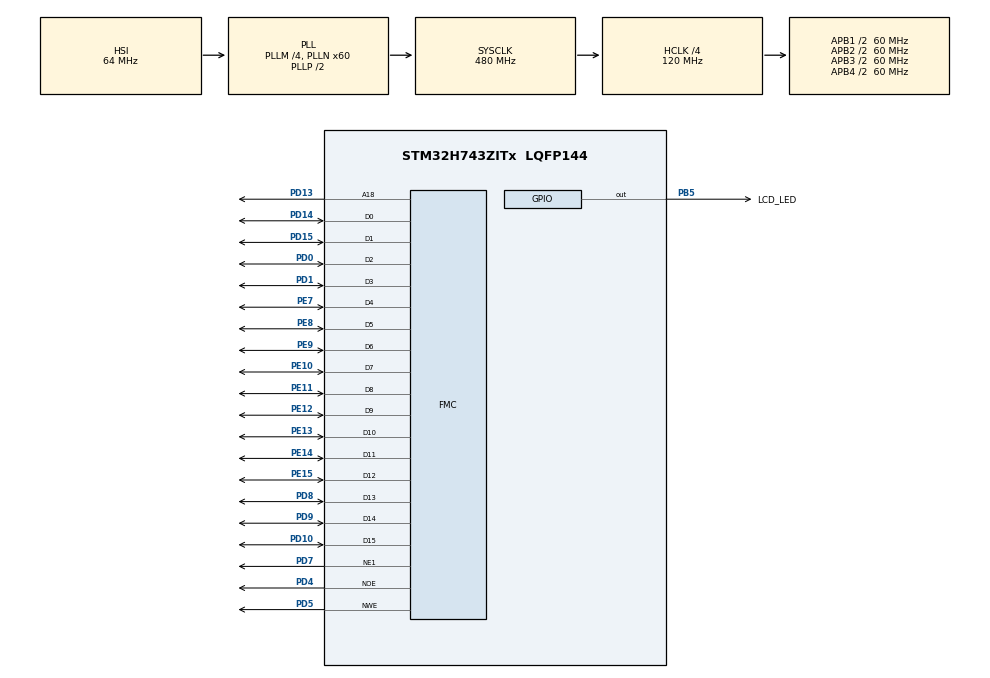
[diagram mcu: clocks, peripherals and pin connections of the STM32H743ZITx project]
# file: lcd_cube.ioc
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CORTEX_M7.AccessPermission-Cortex_Memory_Protection_Unit_Region0_Settings=MPU_REGION_FULL_ACCESS
CORTEX_M7.BaseAddress-Cortex_Memory_Protection_Unit_Region0_Settings=0x60000000
CORTEX_M7.CPU_DCache=Enabled
CORTEX_M7.CPU_ICache=Enabled
CORTEX_M7.Enable-Cortex_Memory_Protection_Unit_Region0_Settings=MPU_REGION_ENABLE
CORTEX_M7.MPU_Control=MPU_PRIVILEGED_DEFAULT
CORTEX_M7.Size-Cortex_Memory_Protection_Unit_Region0_Settings=MPU_REGION_SIZE_256MB
CORTEX_M7.TypeExtField-Cortex_Memory_Protection_Unit_Region0_Settings=MPU_TEX_LEVEL0
Dma.MEMTOMEM.0.Direction=DMA_MEMORY_TO_MEMORY
Dma.MEMTOMEM.0.EventEnable=DISABLE
Dma.MEMTOMEM.0.FIFOMode=DMA_FIFOMODE_ENABLE
Dma.MEMTOMEM.0.FIFOThreshold=DMA_FIFO_THRESHOLD_1QUARTERFULL
Dma.MEMTOMEM.0.Instance=DMA1_Stream2
Dma.MEMTOMEM.0.MemBurst=DMA_MBURST_SINGLE
Dma.MEMTOMEM.0.MemDataAlignment=DMA_MDATAALIGN_HALFWORD
Dma.MEMTOMEM.0.MemInc=DMA_MINC_DISABLE
Dma.MEMTOMEM.0.Mode=DMA_NORMAL
Dma.MEMTOMEM.0.PeriphBurst=DMA_PBURST_SINGLE
Dma.MEMTOMEM.0.PeriphDataAlignment=DMA_PDATAALIGN_HALFWORD
Dma.MEMTOMEM.0.PeriphInc=DMA_PINC_ENABLE
Dma.MEMTOMEM.0.Polarity=HAL_DMAMUX_REQ_GEN_RISING
Dma.MEMTOMEM.0.Priority=DMA_PRIORITY_HIGH
Dma.MEMTOMEM.0.RequestNumber=1
Dma.MEMTOMEM.0.SignalID=NONE
Dma.MEMTOMEM.0.SyncEnable=DISABLE
Dma.MEMTOMEM.0.SyncPolarity=HAL_DMAMUX_SYNC_NO_EVENT
Dma.MEMTOMEM.0.SyncRequestNumber=1
Dma.MEMTOMEM.0.SyncSignalID=NONE
Dma.Request0=MEMTOMEM
FMC.AddressSetupTime1=10
FMC.BankMapConfig=FMC_SWAPBMAP_SDRAM_SRAM
FMC.BusTurnAroundDuration1=0x0
FMC.DataSetupTime1=50
FMC.ExtendedAddressSetupTime1=5
FMC.ExtendedBusTurnAroundDuration1=0x0
FMC.ExtendedDataSetupTime1=5
FMC.ExtendedMode1=FMC_EXTENDED_MODE_ENABLE
Mcu.Family=STM32H7
Mcu.Name=STM32H743ZITx
Mcu.Package=LQFP144
NVIC.DMA1_Stream2_IRQn=true\:0\:0\:false\:false\:true\:true\:true
NVIC.PriorityGroup=NVIC_PRIORITYGROUP_4
PB5.GPIO_Label=LCD_LED
PB5.GPIO_ModeDefaultOutputPP=GPIO_MODE_OUTPUT_PP
PB5.GPIO_PuPd=GPIO_PULLUP
PB5.GPIO_Speed=GPIO_SPEED_FREQ_VERY_HIGH
PB5.Signal=GPIO_Output
PD0.Signal=FMC_D2_DA2
PD1.Signal=FMC_D3_DA3
PD10.Signal=FMC_D15_DA15
PD13.Signal=FMC_A18
PD14.Signal=FMC_D0_DA0
PD15.Signal=FMC_D1_DA1
PD4.Signal=FMC_NOE
PD5.Signal=FMC_NWE
PD7.Mode=NorPsramChipSelect1_1
PD7.Signal=FMC_NE1
PD8.Signal=FMC_D13_DA13
PD9.Signal=FMC_D14_DA14
PE10.Signal=FMC_D7_DA7
PE11.Signal=FMC_D8_DA8
PE12.Signal=FMC_D9_DA9
PE13.Signal=FMC_D10_DA10
PE14.Signal=FMC_D11_DA11
PE15.Signal=FMC_D12_DA12
PE7.Signal=FMC_D4_DA4
PE8.Signal=FMC_D5_DA5
PE9.Signal=FMC_D6_DA6
ProjectManager.HeapSize=0x200
ProjectManager.StackSize=0x400
ProjectManager.TargetToolchain=STM32CubeIDE
RCC.ADCFreq_Value=129000000
RCC.APB1Freq_Value=60000000
RCC.APB2Freq_Value=60000000
RCC.APB3Freq_Value=60000000
RCC.APB4Freq_Value=60000000
RCC.CortexFreq_Value=480000000
RCC.D1PPRE=RCC_APB3_DIV2
RCC.D2PPRE1=RCC_APB1_DIV2
RCC.D2PPRE2=RCC_APB2_DIV2
RCC.D3PPRE=RCC_APB4_DIV2
RCC.DIVM1=4
RCC.DIVN1=60
RCC.HCLKFreq_Value=120000000
RCC.HPRE=RCC_HCLK_DIV4
RCC.HSE_VALUE=25000000
RCC.PLL1_VCI_Range-AdvancedSettings=RCC_PLL1VCIRANGE_1
RCC.PLL1_VCO_SEL=RCC_PLL1VCOWIDE
RCC.PLL1_VCO_SEL-AdvancedSettings=RCC_PLL1VCOMEDIUM
RCC.PLL2_VCI_Range-AdvancedSettings=RCC_PLL2VCIRANGE_0
RCC.PLL2_VCO_SEL-AdvancedSettings=RCC_PLL2VCOMEDIUM
RCC.SYSCLKFreq_VALUE=480000000
RCC.SYSCLKSource=RCC_SYSCLKSOURCE_PLLCLK
RCC.USBFreq_Value=480000000
SH.FMC_A18.0=FMC_A18,A18_1
SH.FMC_D0_DA0.0=FMC_D0,16b-d1
SH.FMC_D10_DA10.0=FMC_D10,16b-d1
SH.FMC_D11_DA11.0=FMC_D11,16b-d1
SH.FMC_D12_DA12.0=FMC_D12,16b-d1
SH.FMC_D13_DA13.0=FMC_D13,16b-d1
SH.FMC_D14_DA14.0=FMC_D14,16b-d1
SH.FMC_D15_DA15.0=FMC_D15,16b-d1
SH.FMC_D1_DA1.0=FMC_D1,16b-d1
SH.FMC_D2_DA2.0=FMC_D2,16b-d1
SH.FMC_D3_DA3.0=FMC_D3,16b-d1
SH.FMC_D4_DA4.0=FMC_D4,16b-d1
SH.FMC_D5_DA5.0=FMC_D5,16b-d1
SH.FMC_D6_DA6.0=FMC_D6,16b-d1
SH.FMC_D7_DA7.0=FMC_D7,16b-d1
SH.FMC_D8_DA8.0=FMC_D8,16b-d1
SH.FMC_D9_DA9.0=FMC_D9,16b-d1
SH.FMC_NOE.0=FMC_NOE,Lcd1
SH.FMC_NWE.0=FMC_NWE,Lcd1
board=custom

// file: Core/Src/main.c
/* USER CODE BEGIN Header */
/**
  ******************************************************************************
  * @file           : main.c
  * @brief          : Main program body
  ******************************************************************************
  * @attention
  *
  * Copyright (c) 2022 STMicroelectronics.
  * All rights reserved.
  *
  * This software is licensed under terms that can be found in the LICENSE file
  * in the root directory of this software component.
  * If no LICENSE file comes with this software, it is provided AS-IS.
  *
  ******************************************************************************
  */
/* USER CODE END Header */
#include "main.h"

/* USER CODE BEGIN Includes */
#include "lcd.h"
#include "draw.h"
#include "stdlib.h"
#include "string.h"
#include "stdio.h"
/* USER CODE END Includes */

DMA_HandleTypeDef hdma_memtomem_dma1_stream2;
SRAM_HandleTypeDef hsram1;

void SystemClock_Config(void);
static void MPU_Config(void);
static void MX_GPIO_Init(void);
static void MX_FMC_Init(void);
static void MX_DMA_Init(void);
/* USER CODE BEGIN PFP */
vu32 next_draw_ticks = 0;

static inline void vertical_sync(u32 period) {
    if (next_draw_ticks == 0) {
        next_draw_ticks = HAL_GetTick() + period;
        return;
    }

    while (next_draw_ticks - HAL_GetTick() != 0) {

    }

    next_draw_ticks = HAL_GetTick() + period;
}
/* USER CODE END PFP */

/* USER CODE BEGIN 0 */
u16 canvas[LCD_TOTAL_POINT];
/* USER CODE END 0 */

int main(void)
{

  /* MPU Configuration--------------------------------------------------------*/
  MPU_Config();

  /* Enable I-Cache---------------------------------------------------------*/
  SCB_EnableICache();

  /* Enable D-Cache---------------------------------------------------------*/
  SCB_EnableDCache();

  /* MCU Configuration--------------------------------------------------------*/

  /* Reset of all peripherals, Initializes the Flash interface and the Systick. */
  HAL_Init();

  /* Configure the system clock */
  SystemClock_Config();

  /* Initialize all configured peripherals */
  MX_GPIO_Init();
  MX_FMC_Init();
  MX_DMA_Init();
  /* USER CODE BEGIN 2 */

    ZEROED_STRUCT(lcd_t, lcd);

    lcd_config_regs(&lcd, FMC_BANK1_BASE_ADDRESS, FMC_ADDRESS_LINE);
    lcd_config_dma(&lcd, &hdma_memtomem_dma1_stream2);
    lcd_config_led(&lcd, LCD_LED_GPIO_Port, LCD_LED_Pin);
    lcd_config_size(&lcd, LCD_WIDTH, LCD_HEIGHT, 1);

    ZEROED_STRUCT(lcd_id4_t, id);
    ZEROED_STRUCT(lcd_status_t, status);

    lcd_init(&lcd, &id, &status);

    HAL_Delay(1000);

    color_t colors[] = { RED, GREEN, BLUE, YELLOW };
    u32 cycle = 0;

    ZEROED_STRUCT(frame_t, frame);

    frame_init(&frame, canvas, LCD_WIDTH, LCD_HEIGHT);

    u32 frame_time = 0;

  /* USER CODE END 2 */

  /* Infinite loop */
  /* USER CODE BEGIN WHILE */
  while (1)
  {
        u32 frame_start = HAL_GetTick();

//        u32 stripes = 4;
//        u32 step = LCD_HEIGHT / stripes;
//        for (u32 height = 0, stripe = 0; stripe < stripes; height += step, stripe++) {
//            color_t color = MODIND(colors, cycle + stripe, stripes);
//            frame_draw_rect(&frame, color, 0, height, LCD_WIDTH - 1, height + step - 1);
//        }

      frame_fill(&frame, BLACK);

//      frame_draw_char(&frame, WHITE, 10, 10, FONT_SIZE_16, 'A');

      float fps = (frame_time != 0) ? 1000.0f / (float) frame_time : -1.0f;

      frame_printf_string(
              &frame, WHITE, 4, 4, FONT_SIZE_16,
              "Hello world, I'm display\nfps: %.1f\nI will fuck ur eyes!", fps);

      vertical_sync(100);

      lcd_frame(&lcd, frame.canvas);

      frame_time = HAL_GetTick() - frame_start;

      cycle++;
    /* USER CODE END WHILE */

  }
}

void SystemClock_Config(void)
{
  RCC_OscInitTypeDef RCC_OscInitStruct = {0};
  RCC_ClkInitTypeDef RCC_ClkInitStruct = {0};

  /** Supply configuration update enable
  */
  HAL_PWREx_ConfigSupply(PWR_LDO_SUPPLY);
  /** Configure the main internal regulator output voltage
  */
  __HAL_PWR_VOLTAGESCALING_CONFIG(PWR_REGULATOR_VOLTAGE_SCALE0);

  while(!__HAL_PWR_GET_FLAG(PWR_FLAG_VOSRDY)) {}
  /** Initializes the RCC Oscillators according to the specified parameters
  * in the RCC_OscInitTypeDef structure.
  */
  RCC_OscInitStruct.OscillatorType = RCC_OSCILLATORTYPE_HSI;
  RCC_OscInitStruct.HSIState = RCC_HSI_DIV1;
  RCC_OscInitStruct.HSICalibrationValue = RCC_HSICALIBRATION_DEFAULT;
  RCC_OscInitStruct.PLL.PLLState = RCC_PLL_ON;
  RCC_OscInitStruct.PLL.PLLSource = RCC_PLLSOURCE_HSI;
  RCC_OscInitStruct.PLL.PLLM = 4;
  RCC_OscInitStruct.PLL.PLLN = 60;
  RCC_OscInitStruct.PLL.PLLP = 2;
  RCC_OscInitStruct.PLL.PLLQ = 2;
  RCC_OscInitStruct.PLL.PLLR = 2;
  RCC_OscInitStruct.PLL.PLLRGE = RCC_PLL1VCIRANGE_3;
  RCC_OscInitStruct.PLL.PLLVCOSEL = RCC_PLL1VCOWIDE;
  RCC_OscInitStruct.PLL.PLLFRACN = 0;
  if (HAL_RCC_OscConfig(&RCC_OscInitStruct) != HAL_OK)
  {
    Error_Handler();
  }
  /** Initializes the CPU, AHB and APB buses clocks
  */
  RCC_ClkInitStruct.ClockType = RCC_CLOCKTYPE_HCLK|RCC_CLOCKTYPE_SYSCLK
                              |RCC_CLOCKTYPE_PCLK1|RCC_CLOCKTYPE_PCLK2
                              |RCC_CLOCKTYPE_D3PCLK1|RCC_CLOCKTYPE_D1PCLK1;
  RCC_ClkInitStruct.SYSCLKSource = RCC_SYSCLKSOURCE_PLLCLK;
  RCC_ClkInitStruct.SYSCLKDivider = RCC_SYSCLK_DIV1;
  RCC_ClkInitStruct.AHBCLKDivider = RCC_HCLK_DIV4;
  RCC_ClkInitStruct.APB3CLKDivider = RCC_APB3_DIV2;
  RCC_ClkInitStruct.APB1CLKDivider = RCC_APB1_DIV2;
  RCC_ClkInitStruct.APB2CLKDivider = RCC_APB2_DIV2;
  RCC_ClkInitStruct.APB4CLKDivider = RCC_APB4_DIV2;

  if (HAL_RCC_ClockConfig(&RCC_ClkInitStruct, FLASH_LATENCY_1) != HAL_OK)
  {
    Error_Handler();
  }
}

static void MX_DMA_Init(void)
{

  /* DMA controller clock enable */
  __HAL_RCC_DMA1_CLK_ENABLE();

  /* Configure DMA request hdma_memtomem_dma1_stream2 on DMA1_Stream2 */
  hdma_memtomem_dma1_stream2.Instance = DMA1_Stream2;
  hdma_memtomem_dma1_stream2.Init.Request = DMA_REQUEST_MEM2MEM;
  hdma_memtomem_dma1_stream2.Init.Direction = DMA_MEMORY_TO_MEMORY;
  hdma_memtomem_dma1_stream2.Init.PeriphInc = DMA_PINC_ENABLE;
  hdma_memtomem_dma1_stream2.Init.MemInc = DMA_MINC_DISABLE;
  hdma_memtomem_dma1_stream2.Init.PeriphDataAlignment = DMA_PDATAALIGN_HALFWORD;
  hdma_memtomem_dma1_stream2.Init.MemDataAlignment = DMA_MDATAALIGN_HALFWORD;
  hdma_memtomem_dma1_stream2.Init.Mode = DMA_NORMAL;
  hdma_memtomem_dma1_stream2.Init.Priority = DMA_PRIORITY_HIGH;
  hdma_memtomem_dma1_stream2.Init.FIFOMode = DMA_FIFOMODE_ENABLE;
  hdma_memtomem_dma1_stream2.Init.FIFOThreshold = DMA_FIFO_THRESHOLD_1QUARTERFULL;
  hdma_memtomem_dma1_stream2.Init.MemBurst = DMA_MBURST_SINGLE;
  hdma_memtomem_dma1_stream2.Init.PeriphBurst = DMA_PBURST_SINGLE;
  if (HAL_DMA_Init(&hdma_memtomem_dma1_stream2) != HAL_OK)
  {
    Error_Handler( );
  }

  /* DMA interrupt init */
  /* DMA1_Stream2_IRQn interrupt configuration */
  HAL_NVIC_SetPriority(DMA1_Stream2_IRQn, 0, 0);
  HAL_NVIC_EnableIRQ(DMA1_Stream2_IRQn);

}

/* FMC initialization function */
static void MX_FMC_Init(void)
{

  FMC_NORSRAM_TimingTypeDef Timing = {0};
  FMC_NORSRAM_TimingTypeDef ExtTiming = {0};

  /** Perform the SRAM1 memory initialization sequence
  */
  hsram1.Instance = FMC_NORSRAM_DEVICE;
  hsram1.Extended = FMC_NORSRAM_EXTENDED_DEVICE;
  /* hsram1.Init */
  hsram1.Init.NSBank = FMC_NORSRAM_BANK1;
  hsram1.Init.DataAddressMux = FMC_DATA_ADDRESS_MUX_DISABLE;
  hsram1.Init.MemoryType = FMC_MEMORY_TYPE_SRAM;
  hsram1.Init.MemoryDataWidth = FMC_NORSRAM_MEM_BUS_WIDTH_16;
  hsram1.Init.BurstAccessMode = FMC_BURST_ACCESS_MODE_DISABLE;
  hsram1.Init.WaitSignalPolarity = FMC_WAIT_SIGNAL_POLARITY_LOW;
  hsram1.Init.WaitSignalActive = FMC_WAIT_TIMING_BEFORE_WS;
  hsram1.Init.WriteOperation = FMC_WRITE_OPERATION_ENABLE;
  hsram1.Init.WaitSignal = FMC_WAIT_SIGNAL_DISABLE;
  hsram1.Init.ExtendedMode = FMC_EXTENDED_MODE_ENABLE;
  hsram1.Init.AsynchronousWait = FMC_ASYNCHRONOUS_WAIT_DISABLE;
  hsram1.Init.WriteBurst = FMC_WRITE_BURST_DISABLE;
  hsram1.Init.ContinuousClock = FMC_CONTINUOUS_CLOCK_SYNC_ONLY;
  hsram1.Init.WriteFifo = FMC_WRITE_FIFO_ENABLE;
  hsram1.Init.PageSize = FMC_PAGE_SIZE_NONE;
  /* Timing */
  Timing.AddressSetupTime = 10;
  Timing.AddressHoldTime = 15;
  Timing.DataSetupTime = 50;
  Timing.BusTurnAroundDuration = 0x0;
  Timing.CLKDivision = 16;
  Timing.DataLatency = 17;
  Timing.AccessMode = FMC_ACCESS_MODE_A;
  /* ExtTiming */
  ExtTiming.AddressSetupTime = 5;
  ExtTiming.AddressHoldTime = 0;
  ExtTiming.DataSetupTime = 5;
  ExtTiming.BusTurnAroundDuration = 0x0;
  ExtTiming.CLKDivision = 16;
  ExtTiming.DataLatency = 17;
  ExtTiming.AccessMode = FMC_ACCESS_MODE_A;

  if (HAL_SRAM_Init(&hsram1, &Timing, &ExtTiming) != HAL_OK)
  {
    Error_Handler( );
  }

  HAL_SetFMCMemorySwappingConfig(FMC_SWAPBMAP_SDRAM_SRAM);

  /* USER CODE BEGIN FMC_Init 2 */

  // IDK how to remove previous line from Cube
  // Required to get rid of HardFault when access to 0x6000_0000 address range
  HAL_SetFMCMemorySwappingConfig(FMC_SWAPBMAP_DISABLE);

  /* USER CODE END FMC_Init 2 */
}

static void MX_GPIO_Init(void)
{
  GPIO_InitTypeDef GPIO_InitStruct = {0};

  /* GPIO Ports Clock Enable */
  __HAL_RCC_GPIOE_CLK_ENABLE();
  __HAL_RCC_GPIOD_CLK_ENABLE();
  __HAL_RCC_GPIOB_CLK_ENABLE();

  /*Configure GPIO pin Output Level */
  HAL_GPIO_WritePin(LCD_LED_GPIO_Port, LCD_LED_Pin, GPIO_PIN_RESET);

  /*Configure GPIO pin : LCD_LED_Pin */
  GPIO_InitStruct.Pin = LCD_LED_Pin;
  GPIO_InitStruct.Mode = GPIO_MODE_OUTPUT_PP;
  GPIO_InitStruct.Pull = GPIO_PULLUP;
  GPIO_InitStruct.Speed = GPIO_SPEED_FREQ_VERY_HIGH;
  HAL_GPIO_Init(LCD_LED_GPIO_Port, &GPIO_InitStruct);

}

/* MPU Configuration */

void MPU_Config(void)
{
  MPU_Region_InitTypeDef MPU_InitStruct = {0};

  /* Disables the MPU */
  HAL_MPU_Disable();
  /** Initializes and configures the Region and the memory to be protected
  */
  MPU_InitStruct.Enable = MPU_REGION_ENABLE;
  MPU_InitStruct.Number = MPU_REGION_NUMBER0;
  MPU_InitStruct.BaseAddress = 0x60000000;
  MPU_InitStruct.Size = MPU_REGION_SIZE_256MB;
  MPU_InitStruct.SubRegionDisable = 0x0;
  MPU_InitStruct.TypeExtField = MPU_TEX_LEVEL0;
  MPU_InitStruct.AccessPermission = MPU_REGION_FULL_ACCESS;
  MPU_InitStruct.DisableExec = MPU_INSTRUCTION_ACCESS_ENABLE;
  MPU_InitStruct.IsShareable = MPU_ACCESS_NOT_SHAREABLE;
  MPU_InitStruct.IsCacheable = MPU_ACCESS_NOT_CACHEABLE;
  MPU_InitStruct.IsBufferable = MPU_ACCESS_NOT_BUFFERABLE;

  HAL_MPU_ConfigRegion(&MPU_InitStruct);
  /* Enables the MPU */
  HAL_MPU_Enable(MPU_PRIVILEGED_DEFAULT);

}

void Error_Handler(void)
{
  __disable_irq();
  while (1)
  {
  }
}
